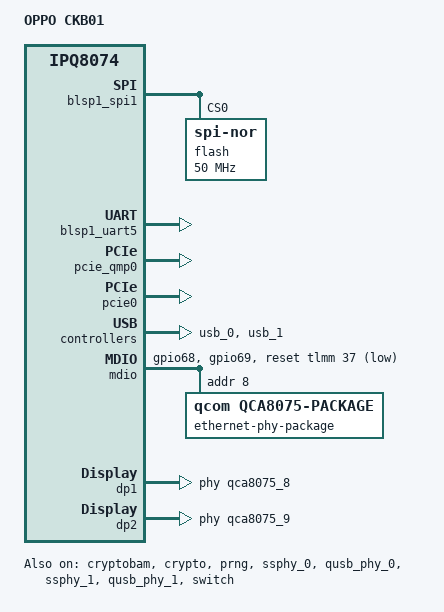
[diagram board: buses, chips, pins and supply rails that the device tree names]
// SPDX-License-Identifier: GPL-2.0-or-later OR MIT

/dts-v1/;

#include "ipq8074.dtsi"
#include "ipq8074-hk-cpu.dtsi"
#include "ipq8074-ess.dtsi"
#include <dt-bindings/gpio/gpio.h>
#include <dt-bindings/input/input.h>
#include <dt-bindings/leds/common.h>

/ {
	model = "OPPO CKB01";
	compatible = "oppo,ckb01", "qcom,ipq8074";

	aliases {
		serial0 = &blsp1_uart5;
	};

	chosen {
		stdout-path = "serial0:115200n8";
	};
};

&tlmm {
	mdio_pins: mdio-state {
		mdc-pins {
			pins = "gpio68";
			function = "mdc";
			drive-strength = <4>;
			bias-pull-up;
		};

		mdio-pins {
			pins = "gpio69";
			function = "mdio";
			drive-strength = <6>;
			bias-pull-up;
		};
	};
};

&blsp1_spi1 { /* BLSP1 QUP1 */
	pinctrl-0 = <&spi_0_pins>;
	pinctrl-names = "default";
	cs-gpios = <0>;
	status = "okay";

	flash@0 {
		reg = <0>;
		compatible = "jedec,spi-nor";
		spi-max-frequency = <50000000>;

		partitions {
			compatible = "qcom,smem-part";
		};
	};
};

&blsp1_uart5 {
	status = "okay";
};

&cryptobam {
	status = "okay";
};

&crypto {
	status = "okay";
};

&pcie_qmp0 {
	status = "okay";
};

&pcie0 {
	status = "okay";

	perst-gpios = <&tlmm 58 GPIO_ACTIVE_LOW>;
};

&prng {
	status = "okay";
};

&ssphy_0 {
	status = "okay";
};

&qusb_phy_0 {
	status = "okay";
};

&ssphy_1 {
	status = "okay";
};

&qusb_phy_1 {
	status = "okay";
};

&usb_0 {
	status = "okay";
};

&usb_1 {
	status = "okay";
};

&mdio {
	status = "okay";

	pinctrl-0 = <&mdio_pins>;
	pinctrl-names = "default";
	reset-gpios = <&tlmm 37 GPIO_ACTIVE_LOW>;

	ethernet-phy-package@8 {
		#address-cells = <1>;
		#size-cells = <0>;
		compatible = "qcom,qca8075-package";
		reg = <8>;

		qcom,package-mode = "psgmii";

		qca8075_8: ethernet-phy@8 {
			compatible = "ethernet-phy-ieee802.3-c22";
			reg = <0x8>;
		};

		qca8075_9: ethernet-phy@9 {
			compatible = "ethernet-phy-ieee802.3-c22";
			reg = <0x9>;
		};
	};
};

&switch {
	status = "okay";

	switch_lan_bmp = <(ESS_PORT1 | ESS_PORT2)>; /* lan port bitmap */
	switch_mac_mode = <MAC_MODE_PSGMII>; /* mac mode for uniphy instance0*/

	qcom,port_phyinfo {
		port@0 {
			port_id = <1>;
			phy_address = <8>;
		};

		port@1 {
			port_id = <2>;
			phy_address = <9>;
		};
	};
};

&edma {
	status = "okay";
};

&dp1 {
	status = "okay";
	phy-handle = <&qca8075_8>;
	label = "lan1";
};

&dp2 {
	status = "okay";
	phy-handle = <&qca8075_9>;
	label = "lan2";
};
